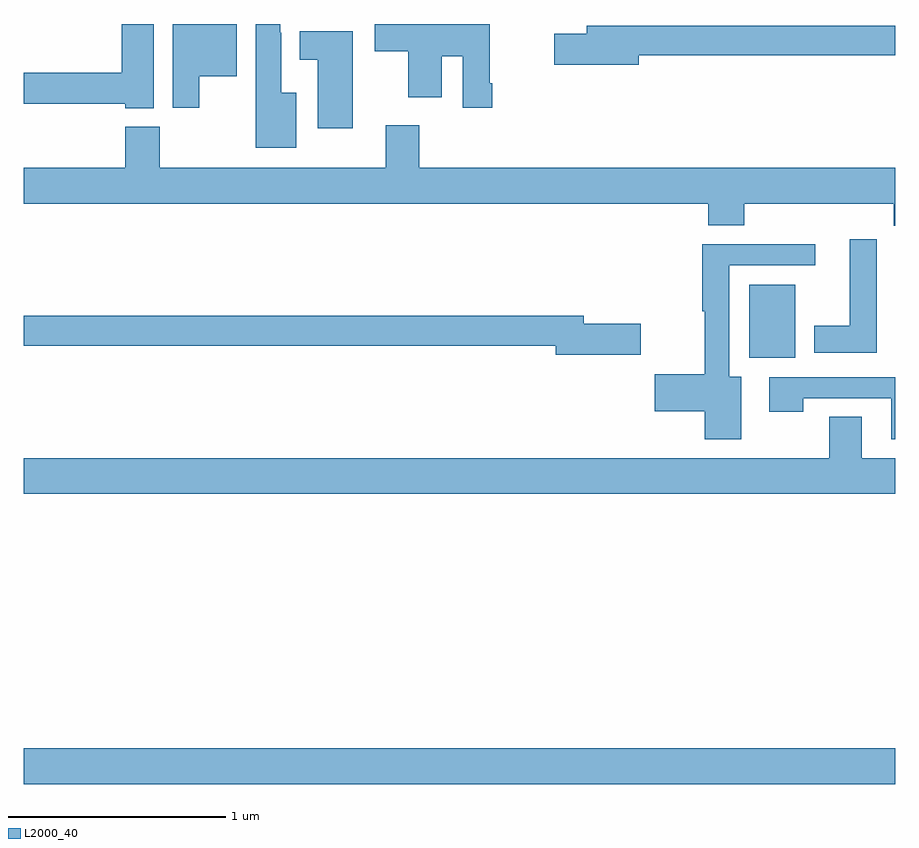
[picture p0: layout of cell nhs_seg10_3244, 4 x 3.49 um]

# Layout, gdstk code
import gdstk
lib = gdstk.Library(unit=1e-6, precision=1e-09)
def R(c, l, rs):  # rectangles x0, y0, x1, y1
    for r in rs: c.add(gdstk.rectangle(r[:2], r[2:], *l))
def P(c, l, *ps):  # polygons
    for p in ps: c.add(gdstk.Polygon(p, *l))
L2000_40 = (2000, 40)

nhs_seg10_3244 = lib.new_cell('nhs_seg10_3244')
R(nhs_seg10_3244, L2000_40, [(287,1271.012,291,1271.176), (290.33,1272.968,290.542,1273.303)])
P(nhs_seg10_3244, L2000_40, [(288.25,1274.185),(288.181,1274.185),(288.181,1274.459),(288.177,1274.459),(288.177,1274.5),(288.065,1274.5),(288.065,1273.931),(288.25,1273.931)],
  [(287.806,1274.261),(287.977,1274.261),(287.977,1274.5),(287.684,1274.5),(287.684,1274.115),(287.806,1274.115)],
  [(289.151,1274.227),(289.138,1274.227),(289.138,1274.5),(289.02,1274.5),(289.02,1274.498),(288.919,1274.498),(288.919,1274.5),(288.612,1274.5),(288.612,1274.374),(288.764,1274.374),(288.764,1274.163),(288.919,1274.163),(288.919,1274.351),(289.016,1274.351),(289.016,1274.115),(289.151,1274.115)],
  [(287.596,1274.5),(287.45,1274.5),(287.45,1274.276),(287,1274.276),(287,1274.134),(287.466,1274.134),(287.466,1274.114),(287.596,1274.114)],
  [(289.822,1274.356),(291,1274.356),(291,1274.492),(289.583,1274.492),(289.583,1274.456),(289.434,1274.456),(289.434,1274.314),(289.822,1274.314)],
  [(288.511,1274.467),(288.266,1274.467),(288.266,1274.336),(288.35,1274.336),(288.35,1274.022),(288.511,1274.022)],
  [(291,1273.84),(288.815,1273.84),(288.815,1274.035),(288.662,1274.035),(288.662,1273.84),(287.625,1273.84),(287.625,1274.029),(287.465,1274.029),(287.465,1273.84),(287,1273.84),(287,1273.676),(290.141,1273.676),(290.141,1273.577),(290.306,1273.577),(290.306,1273.676),(290.993,1273.676),(290.993,1273.575),(291,1273.575)],
  [(290.914,1273.513),(290.792,1273.513),(290.792,1273.114),(290.627,1273.114),(290.627,1272.992),(290.914,1272.992)],
  [(290.293,1272.88),(290.239,1272.88),(290.239,1273.392),(290.632,1273.392),(290.632,1273.49),(290.114,1273.49),(290.114,1273.181),(290.126,1273.181),(290.126,1272.893),(289.896,1272.893),(289.896,1272.722),(290.126,1272.722),(290.126,1272.594),(290.293,1272.594)],
  [(289.831,1273.124),(289.57,1273.124),(289.57,1273.16),(287,1273.16),(287,1273.024),(289.442,1273.024),(289.442,1272.982),(289.831,1272.982)],
  [(291,1272.879),(290.421,1272.879),(290.421,1272.72),(290.577,1272.72),(290.577,1272.783),(290.981,1272.783),(290.981,1272.594),(291,1272.594)],
  [(291,1272.508),(290.845,1272.508),(290.845,1272.698),(290.698,1272.698),(290.698,1272.508),(287,1272.508),(287,1272.344),(291,1272.344)])

lib.write_gds('nhs_seg10_3244.gds')
